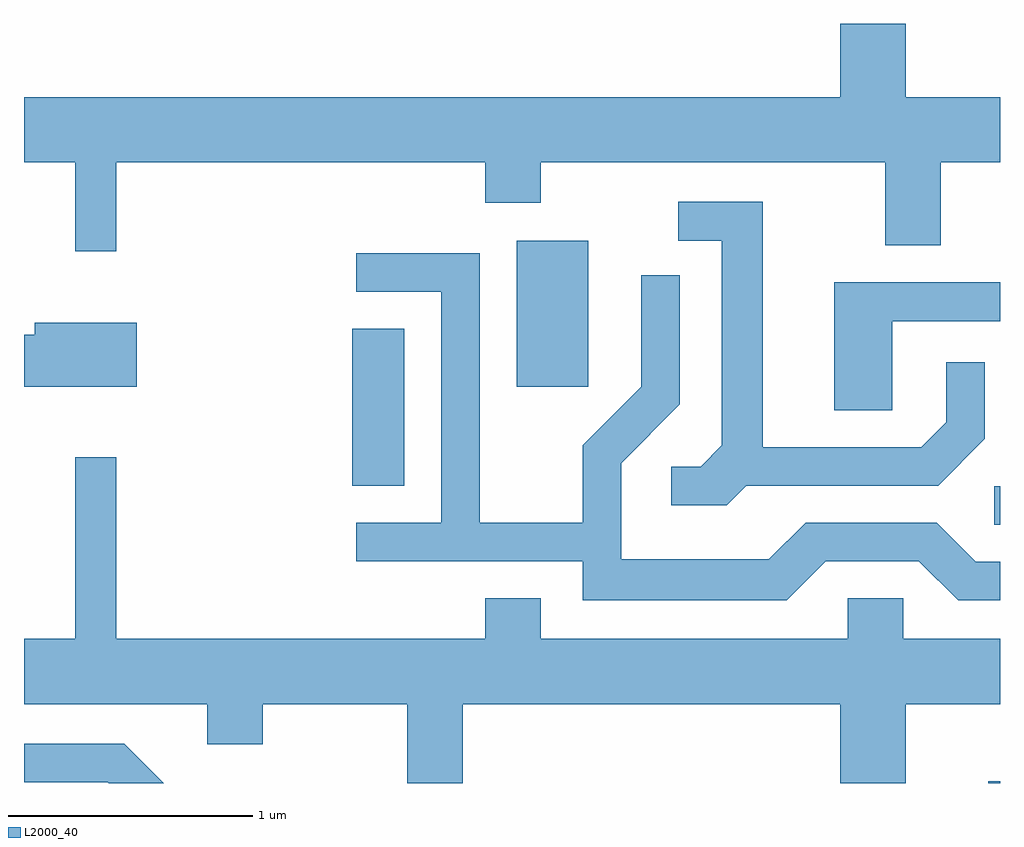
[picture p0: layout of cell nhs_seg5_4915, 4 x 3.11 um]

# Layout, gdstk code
import gdstk
lib = gdstk.Library(unit=1e-6, precision=1e-09)
def R(c, l, rs):  # rectangles x0, y0, x1, y1
    for r in rs: c.add(gdstk.rectangle(r[:2], r[2:], *l))
def P(c, l, *ps):  # polygons
    for p in ps: c.add(gdstk.Polygon(p, *l))
L2000_40 = (2000, 40)

nhs_seg5_4915 = lib.new_cell('nhs_seg5_4915')
R(nhs_seg5_4915, L2000_40, [(335.563,1412.072,335.611,1412.079), (335.588,1413.131,335.611,1413.289), (332.956,1413.291,333.169,1413.934), (333.631,1413.696,333.924,1414.294)])
P(nhs_seg5_4915, L2000_40, [(331.989,1414.616),(333.501,1414.616),(333.501,1414.451),(333.729,1414.451),(333.729,1414.616),(335.141,1414.616),(335.141,1414.276),(335.369,1414.276),(335.369,1414.616),(335.611,1414.616),(335.611,1414.884),(335.224,1414.884),(335.224,1415.184),(334.956,1415.184),(334.956,1414.884),(331.611,1414.884),(331.611,1414.616),(331.821,1414.616),(331.821,1414.253),(331.989,1414.253)],
  [(334.572,1413.291),(335.357,1413.291),(335.549,1413.484),(335.549,1413.798),(335.391,1413.798),(335.391,1413.552),(335.289,1413.449),(334.639,1413.449),(334.639,1414.454),(334.293,1414.454),(334.293,1414.296),(334.471,1414.296),(334.471,1413.457),(334.384,1413.369),(334.263,1413.369),(334.263,1413.211),(334.492,1413.211)],
  [(334.897,1412.981),(335.279,1412.981),(335.439,1412.821),(335.611,1412.821),(335.611,1412.979),(335.512,1412.979),(335.352,1413.139),(334.814,1413.139),(334.664,1412.989),(334.059,1412.989),(334.059,1413.384),(334.299,1413.624),(334.299,1414.153),(334.141,1414.153),(334.141,1413.697),(333.901,1413.457),(333.901,1413.139),(333.479,1413.139),(333.479,1414.244),(332.973,1414.244),(332.973,1414.086),(333.321,1414.086),(333.321,1413.139),(332.973,1413.139),(332.973,1412.981),(333.901,1412.981),(333.901,1412.821),(334.737,1412.821)],
  [(335.169,1413.966),(335.611,1413.966),(335.611,1414.124),(334.931,1414.124),(334.931,1413.601),(335.169,1413.601)],
  [(332.074,1413.959),(331.656,1413.959),(331.656,1413.909),(331.611,1413.909),(331.611,1413.696),(332.074,1413.696)],
  [(333.409,1412.396),(334.956,1412.396),(334.956,1412.072),(335.224,1412.072),(335.224,1412.396),(335.611,1412.396),(335.611,1412.664),(335.214,1412.664),(335.214,1412.829),(334.986,1412.829),(334.986,1412.664),(333.729,1412.664),(333.729,1412.829),(333.501,1412.829),(333.501,1412.664),(331.989,1412.664),(331.989,1413.408),(331.821,1413.408),(331.821,1412.664),(331.611,1412.664),(331.611,1412.396),(332.361,1412.396),(332.361,1412.231),(332.589,1412.231),(332.589,1412.396),(333.181,1412.396),(333.181,1412.072),(333.409,1412.072)],
  [(332.022,1412.234),(331.611,1412.234),(331.611,1412.076),(331.954,1412.076),(331.958,1412.072),(332.184,1412.072)])

lib.write_gds('nhs_seg5_4915.gds')
